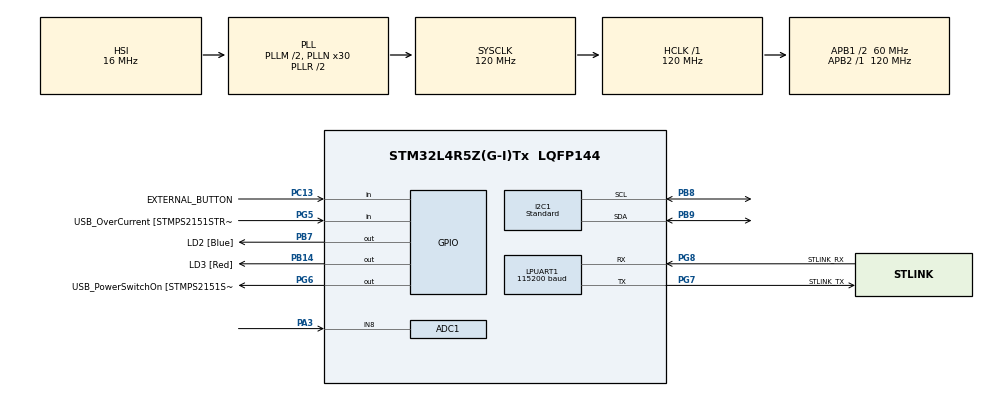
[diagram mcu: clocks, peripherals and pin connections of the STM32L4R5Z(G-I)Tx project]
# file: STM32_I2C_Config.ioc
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ADC1.Channel-1\#ChannelRegularConversion=ADC_CHANNEL_8
ADC1.Channel-2\#ChannelRegularConversion=ADC_CHANNEL_TEMPSENSOR
ADC1.Channel-3\#ChannelRegularConversion=ADC_CHANNEL_VREFINT
ADC1.Channel-4\#ChannelRegularConversion=ADC_CHANNEL_VBAT
ADC1.ContinuousConvMode=ENABLE
ADC1.DMAContinuousRequests=ENABLE
ADC1.EOCSelection=ADC_EOC_SEQ_CONV
ADC1.ExternalTrigConv=ADC_EXTERNALTRIG_T2_TRGO
ADC1.NbrOfConversion=4
ADC1.NbrOfConversionFlag=1
ADC1.OffsetNumber-1\#ChannelRegularConversion=ADC_OFFSET_NONE
ADC1.OffsetNumber-2\#ChannelRegularConversion=ADC_OFFSET_NONE
ADC1.OffsetNumber-3\#ChannelRegularConversion=ADC_OFFSET_NONE
ADC1.OffsetNumber-4\#ChannelRegularConversion=ADC_OFFSET_NONE
ADC1.Rank-1\#ChannelRegularConversion=1
ADC1.Rank-2\#ChannelRegularConversion=2
ADC1.Rank-3\#ChannelRegularConversion=3
ADC1.Rank-4\#ChannelRegularConversion=4
ADC1.SamplingTime-1\#ChannelRegularConversion=ADC_SAMPLETIME_12CYCLES_5
ADC1.SamplingTime-2\#ChannelRegularConversion=ADC_SAMPLETIME_92CYCLES_5
ADC1.SamplingTime-3\#ChannelRegularConversion=ADC_SAMPLETIME_12CYCLES_5
ADC1.SamplingTime-4\#ChannelRegularConversion=ADC_SAMPLETIME_12CYCLES_5
ADC1.master=1
Dma.ADC1.0.Direction=DMA_PERIPH_TO_MEMORY
Dma.ADC1.0.EventEnable=DISABLE
Dma.ADC1.0.Instance=DMA1_Channel1
Dma.ADC1.0.MemDataAlignment=DMA_MDATAALIGN_HALFWORD
Dma.ADC1.0.MemInc=DMA_MINC_ENABLE
Dma.ADC1.0.Mode=DMA_CIRCULAR
Dma.ADC1.0.PeriphDataAlignment=DMA_PDATAALIGN_HALFWORD
Dma.ADC1.0.PeriphInc=DMA_PINC_DISABLE
Dma.ADC1.0.Polarity=HAL_DMAMUX_REQUEST_GEN_RISING
Dma.ADC1.0.Priority=DMA_PRIORITY_LOW
Dma.ADC1.0.RequestNumber=1
Dma.ADC1.0.SignalID=NONE
Dma.ADC1.0.SyncEnable=DISABLE
Dma.ADC1.0.SyncPolarity=HAL_DMAMUX_SYNC_NO_EVENT
Dma.ADC1.0.SyncRequestNumber=1
Dma.ADC1.0.SyncSignalID=NONE
Dma.LPUART1_TX.1.Direction=DMA_MEMORY_TO_PERIPH
Dma.LPUART1_TX.1.EventEnable=DISABLE
Dma.LPUART1_TX.1.Instance=DMA1_Channel2
Dma.LPUART1_TX.1.MemDataAlignment=DMA_MDATAALIGN_BYTE
Dma.LPUART1_TX.1.MemInc=DMA_MINC_ENABLE
Dma.LPUART1_TX.1.Mode=DMA_NORMAL
Dma.LPUART1_TX.1.PeriphDataAlignment=DMA_PDATAALIGN_BYTE
Dma.LPUART1_TX.1.PeriphInc=DMA_PINC_DISABLE
Dma.LPUART1_TX.1.Polarity=HAL_DMAMUX_REQUEST_GEN_RISING
Dma.LPUART1_TX.1.Priority=DMA_PRIORITY_LOW
Dma.LPUART1_TX.1.RequestNumber=1
Dma.LPUART1_TX.1.SignalID=NONE
Dma.LPUART1_TX.1.SyncEnable=DISABLE
Dma.LPUART1_TX.1.SyncPolarity=HAL_DMAMUX_SYNC_NO_EVENT
Dma.LPUART1_TX.1.SyncRequestNumber=1
Dma.LPUART1_TX.1.SyncSignalID=NONE
Dma.Request0=ADC1
Dma.Request1=LPUART1_TX
FREERTOS.Queues01=St_Queue,16,uint16_t,0,Dynamic,NULL,NULL
FREERTOS.Tasks01=TaskSend1,24,128,StartTaskSend1,Default,NULL,Dynamic,NULL,NULL;TaskSend2,24,128,StartTaskSend2,Default,NULL,Dynamic,NULL,NULL;TaskReseive01,8,128,StartTaskReseive01,Default,NULL,Dynamic,NULL,NULL
FREERTOS.Timers01=periodicTimer,PTCallback,osTimerPeriodic,Default,NULL,Dynamic,NULL;OnceTimer,OTCallback,osTimerOnce,Default,NULL,Dynamic,NULL
FREERTOS.configTIMER_TASK_PRIORITY=6
I2C1.I2C_Speed_Mode=I2C_Standard
I2C1.Timing=0x10A077A8
LPUART1.BaudRate=115200
LPUART1.WordLength=UART_WORDLENGTH_8B
Mcu.Family=STM32L4
Mcu.Name=STM32L4R5Z(G-I)Tx
Mcu.Package=LQFP144
NVIC.DMA1_Channel1_IRQn=true\:5\:0\:false\:false\:true\:true\:false\:true\:true
NVIC.DMA1_Channel2_IRQn=true\:5\:0\:false\:false\:true\:true\:false\:true\:true
NVIC.LPUART1_IRQn=true\:5\:0\:false\:false\:true\:true\:true\:true\:true
NVIC.PriorityGroup=NVIC_PRIORITYGROUP_4
NVIC.TIM1_UP_TIM16_IRQn=true\:5\:0\:false\:false\:true\:true\:true\:true\:true
NVIC.TIM7_IRQn=true\:15\:0\:false\:false\:true\:false\:false\:true\:true
NVIC.TimeBase=TIM7_IRQn
NVIC.TimeBaseIP=TIM7
PA10.GPIO_Label=USB_ID
PA10.Signal=USB_OTG_FS_ID
PA11.GPIO_Label=USB_DM
PA11.Signal=USB_OTG_FS_DM
PA12.GPIO_Label=USB_DP
PA12.Signal=USB_OTG_FS_DP
PA13\ (JTMS/SWDIO).GPIO_Label=TMS
PA13\ (JTMS/SWDIO).Mode=Trace_Asynchronous_SW
PA13\ (JTMS/SWDIO).Signal=SYS_JTMS-SWDIO
PA14\ (JTCK/SWCLK).GPIO_Label=TCK
PA14\ (JTCK/SWCLK).Mode=Trace_Asynchronous_SW
PA14\ (JTCK/SWCLK).Signal=SYS_JTCK-SWCLK
PA3.Signal=ADCx_IN8
PA8.GPIO_Label=USB_SOF [TP1]
PA8.Signal=USB_OTG_FS_SOF
PA9.GPIO_Label=USB_VBUS
PA9.Signal=USB_OTG_FS_VBUS
PB14.GPIO_Label=LD3 [Red]
PB14.Signal=GPIO_Output
PB3\ (JTDO/TRACESWO).GPIO_Label=SWO
PB3\ (JTDO/TRACESWO).Mode=Trace_Asynchronous_SW
PB3\ (JTDO/TRACESWO).Signal=SYS_JTDO-SWO
PB7.GPIO_Label=LD2 [Blue]
PB7.Signal=GPIO_Output
PB8.Mode=I2C
PB8.Signal=I2C1_SCL
PB9.Mode=I2C
PB9.Signal=I2C1_SDA
PC13.GPIO_Label=EXTERNAL_BUTTON
PC13.Signal=GPIO_Input
PC14-OSC32_IN\ (PC14).Signal=RCC_OSC32_IN
PC15-OSC32_OUT\ (PC15).Signal=RCC_OSC32_OUT
PD8.GPIO_Label=STLK_RX [STM32F103CBT6_PA3]
PD8.Signal=USART3_TX
PD9.GPIO_Label=STLK_TX [STM32F103CBT6_PA2]
PD9.Signal=USART3_RX
PG5.GPIO_Label=USB_OverCurrent [STMPS2151STR_FAULT]
PG5.Signal=GPIO_Input
PG6.GPIO_Label=USB_PowerSwitchOn [STMPS2151STR_EN]
PG6.Signal=GPIO_Output
PG7.GPIO_Label=STLINK_TX
PG7.Mode=Asynchronous
PG7.Signal=LPUART1_TX
PG8.GPIO_Label=STLINK_RX
PG8.Mode=Asynchronous
PG8.Signal=LPUART1_RX
PH0-OSC_IN\ (PH0).Mode=HSE-External-Oscillator
PH0-OSC_IN\ (PH0).Signal=RCC_OSC_IN
PH1-OSC_OUT\ (PH1).Mode=HSE-External-Oscillator
PH1-OSC_OUT\ (PH1).Signal=RCC_OSC_OUT
ProjectManager.HeapSize=0x200
ProjectManager.StackSize=0x400
ProjectManager.TargetToolchain=CMake
RCC.48MHZClocksFreq_Value=24000000
RCC.ADCFreq_Value=96000000
RCC.AHBFreq_Value=120000000
RCC.APB1CLKDivider=RCC_HCLK_DIV2
RCC.APB1Freq_Value=60000000
RCC.APB1TimFreq_Value=120000000
RCC.APB2Freq_Value=120000000
RCC.APB2TimFreq_Value=120000000
RCC.CK48CLockSelection=RCC_USBCLKSOURCE_HSI48
RCC.CortexFreq_Value=120000000
RCC.HCLKFreq_Value=120000000
RCC.HSE_VALUE=8000000
RCC.HSI48_VALUE=48000000
RCC.HSI_VALUE=16000000
RCC.LSE_VALUE=32768
RCC.MSI_VALUE=4000000
RCC.PLLM1=2
RCC.PLLMUL=RCC_PLL_MUL9
RCC.PLLN=30
RCC.PLLSAI1N=12
RCC.PLLSourceVirtual=RCC_PLLSOURCE_HSI
RCC.PRESCALERUSB=RCC_USBCLKSOURCE_PLL_DIV1_5
RCC.SYSCLKFreq_VALUE=120000000
RCC.SYSCLKSource=RCC_SYSCLKSOURCE_PLLCLK
RCC.SYSCLKSourceVirtual=RCC_SYSCLKSOURCE_PLLCLK
RCC.USBFreq_Value=48000000
RCC.VCOOutputFreq_Value=240000000
SH.ADCx_IN8.0=ADC1_IN8,IN8-Single-Ended
TIM16.Period=10000-1
TIM16.Prescaler=12000-1
TIM17.Prescaler=12000-1
TIM2.Period=1000-1
TIM2.Prescaler=12000-1
TIM2.TIM_MasterOutputTrigger=TIM_TRGO_UPDATE
VP_ADC1_TempSens_Input.Mode=IN-TempSens
VP_ADC1_Vbat_Input.Mode=IN-Vbat
VP_ADC1_Vref_Input.Mode=IN-Vrefint
VP_FREERTOS_VS_CMSIS_V2.Mode=CMSIS_V2
VP_SYS_VS_tim7.Mode=TIM7
VP_TIM16_VS_ClockSourceINT.Mode=Enable_Timer
VP_TIM17_VS_ClockSourceINT.Mode=Enable_Timer
VP_TIM2_VS_ClockSourceINT.Mode=Internal
board=NUCLEO-L4R5ZI

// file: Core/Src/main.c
/* USER CODE BEGIN Header */
/**
 ******************************************************************************
 * @file           : main.c
 * @brief          : Main program body
 ******************************************************************************
 * @attention
 *
 * Copyright (c) 2024 STMicroelectronics.
 * All rights reserved.
 *
 * This software is licensed under terms that can be found in the LICENSE file
 * in the root directory of this software component.
 * If no LICENSE file comes with this software, it is provided AS-IS.
 *
 ******************************************************************************
 */
/* USER CODE END Header */
#include "main.h"
#include "cmsis_os.h"
#include "adc.h"
#include "dma.h"
#include "i2c.h"
#include "usart.h"
#include "tim.h"
#include "gpio.h"

/* USER CODE BEGIN Includes */
#include "bme280.h"
#include <stdio.h>
#include <string.h>
#include <stdlib.h>

/* USER CODE END Includes */

/* USER CODE BEGIN PV */

uint8_t flgTimerEclapes = FALSE;

/* USER CODE END PV */

void SystemClock_Config(void);
void MX_FREERTOS_Init(void);

int main(void)
{

  /* USER CODE BEGIN 1 */
  HAL_StatusTypeDef rslt;
  /* USER CODE END 1 */

  /* MCU Configuration--------------------------------------------------------*/

  /* Reset of all peripherals, Initializes the Flash interface and the Systick. */
  HAL_Init();

  /* Configure the system clock */
  SystemClock_Config();

  /* Initialize all configured peripherals */
  MX_GPIO_Init();
  MX_DMA_Init();
  MX_I2C1_Init();
  MX_TIM16_Init();
  MX_ADC1_Init();
  MX_TIM2_Init();
  MX_TIM17_Init();
  MX_LPUART1_UART_Init();
  /* USER CODE BEGIN 2 */

  rslt = HAL_TIM_Base_Start_IT(&htim16);

  HAL_TIM_Base_Start(&htim2);

  /* USER CODE END 2 */

  /* Init scheduler */
  osKernelInitialize();

  /* Call init function for freertos objects (in cmsis_os2.c) */
  MX_FREERTOS_Init();

  /* Start scheduler */
  osKernelStart();

  /* We should never get here as control is now taken by the scheduler */

  /* Infinite loop */
  while (1)
  {

  }
}

void SystemClock_Config(void)
{
  RCC_OscInitTypeDef RCC_OscInitStruct = {0};
  RCC_ClkInitTypeDef RCC_ClkInitStruct = {0};

  /** Configure the main internal regulator output voltage
  */
  if (HAL_PWREx_ControlVoltageScaling(PWR_REGULATOR_VOLTAGE_SCALE1_BOOST) != HAL_OK)
  {
    Error_Handler();
  }

  /** Initializes the RCC Oscillators according to the specified parameters
  * in the RCC_OscInitTypeDef structure.
  */
  RCC_OscInitStruct.OscillatorType = RCC_OSCILLATORTYPE_HSI;
  RCC_OscInitStruct.HSIState = RCC_HSI_ON;
  RCC_OscInitStruct.HSICalibrationValue = RCC_HSICALIBRATION_DEFAULT;
  RCC_OscInitStruct.PLL.PLLState = RCC_PLL_ON;
  RCC_OscInitStruct.PLL.PLLSource = RCC_PLLSOURCE_HSI;
  RCC_OscInitStruct.PLL.PLLM = 2;
  RCC_OscInitStruct.PLL.PLLN = 30;
  RCC_OscInitStruct.PLL.PLLP = RCC_PLLP_DIV2;
  RCC_OscInitStruct.PLL.PLLQ = RCC_PLLQ_DIV2;
  RCC_OscInitStruct.PLL.PLLR = RCC_PLLR_DIV2;
  if (HAL_RCC_OscConfig(&RCC_OscInitStruct) != HAL_OK)
  {
    Error_Handler();
  }

  /** Initializes the CPU, AHB and APB buses clocks
  */
  RCC_ClkInitStruct.ClockType = RCC_CLOCKTYPE_HCLK|RCC_CLOCKTYPE_SYSCLK
                              |RCC_CLOCKTYPE_PCLK1|RCC_CLOCKTYPE_PCLK2;
  RCC_ClkInitStruct.SYSCLKSource = RCC_SYSCLKSOURCE_PLLCLK;
  RCC_ClkInitStruct.AHBCLKDivider = RCC_SYSCLK_DIV1;
  RCC_ClkInitStruct.APB1CLKDivider = RCC_HCLK_DIV2;
  RCC_ClkInitStruct.APB2CLKDivider = RCC_HCLK_DIV1;

  if (HAL_RCC_ClockConfig(&RCC_ClkInitStruct, FLASH_LATENCY_5) != HAL_OK)
  {
    Error_Handler();
  }
}

/* USER CODE BEGIN 4 */
/*void HAL_TIM_PeriodElapsedCallback(TIM_HandleTypeDef *htim)
{

  if (htim == &htim16)
  {
    flgTimerEclapes = TRUE;
  }
}*/

/* USER CODE END 4 */

void HAL_TIM_PeriodElapsedCallback(TIM_HandleTypeDef *htim)
{
  if (htim->Instance == TIM7) {
    HAL_IncTick();
  }
  /* USER CODE BEGIN Callback 1 */
  if (htim->Instance == TIM16)
  {
    flgTimerEclapes = TRUE;
  }
  /* USER CODE END Callback 1 */
}

void Error_Handler(void)
{
  __disable_irq();
  while (1)
  {
  }
}

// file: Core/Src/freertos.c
/* USER CODE BEGIN Header */
/**
 ******************************************************************************
 * File Name          : freertos.c
 * Description        : Code for freertos applications
 ******************************************************************************
 * @attention
 *
 * Copyright (c) 2024 STMicroelectronics.
 * All rights reserved.
 *
 * This software is licensed under terms that can be found in the LICENSE file
 * in the root directory of this software component.
 * If no LICENSE file comes with this software, it is provided AS-IS.
 *
 ******************************************************************************
 */
/* USER CODE END Header */

#include "FreeRTOS.h"
#include "task.h"
#include "main.h"
#include "cmsis_os.h"

/* USER CODE BEGIN Includes */
#include "adc.h"
#include "tim.h"
#include "sensor.h"
#include "bme280.h"
#include "display.h"
#include <stdio.h>
#include <string.h>
#include <stdlib.h>
#include "usart.h"
/* USER CODE END Includes */

/* USER CODE BEGIN Variables */
uint16_t timer_val = 0;
uint32_t idx = 0;
uint32_t sec = 0;
HAL_StatusTypeDef rslt;
strFdbkSensor TempHumPresSensor = {.humidity = 0, .pressure = 0, .temperature = 0, .rslt = BME280_OK};
char myText[50] = {'\0'};

/* USER CODE END Variables */
/* Definitions for ReadSensorData */
osThreadId_t ReadSensorDataHandle;
const osThreadAttr_t ReadSensorData_attributes = {
    .name = "ReadSensorData",
    .stack_size = 256 * 4,
    .priority = (osPriority_t)osPriorityNormal,
};
/* Definitions for TaskReseive01 */
osThreadId_t DisplayDataHandle;
const osThreadAttr_t DisplayData_attributes = {
    .name = "DisplayData",
    .stack_size = 256 * 4,
    .priority = (osPriority_t)osPriorityBelowNormal,
};
/* Definitions for St_Queue */
osMessageQueueId_t St_QueueHandle;
const osMessageQueueAttr_t St_Queue_attributes = {
    .name = "St_Queue"};
/* Definitions for periodicTimer */
osTimerId_t periodicTimerHandle;
const osTimerAttr_t periodicTimer_attributes = {
    .name = "periodicTimer"};
/* Definitions for OnceTimer */
osTimerId_t OnceTimerHandle;
const osTimerAttr_t OnceTimer_attributes = {
    .name = "OnceTimer"};

void StartReadData(void *argument);
void StartDisplayData(void *argument);
void PTCallback(void *argument);
void OTCallback(void *argument);

void MX_FREERTOS_Init(void); /* (MISRA C 2004 rule 8.1) */

void MX_FREERTOS_Init(void)
{
  /* USER CODE BEGIN Init */
  rslt = InitSensors();
  rslt = InitDisplay();

  /* USER CODE END Init */

  /* Create the timer(s) */
  /* creation of periodicTimer */
  periodicTimerHandle = osTimerNew(PTCallback, osTimerPeriodic, NULL, &periodicTimer_attributes);

  /* creation of OnceTimer */
  OnceTimerHandle = osTimerNew(OTCallback, osTimerOnce, NULL, &OnceTimer_attributes);

  /* USER CODE BEGIN RTOS_TIMERS */
  /* start timers, add new ones, ... */
  HAL_TIM_Base_Start(&htim17);
  /* USER CODE END RTOS_TIMERS */

  /* Create the queue(s) */
  /* creation of St_Queue */
  St_QueueHandle = osMessageQueueNew(16, sizeof(uint16_t), &St_Queue_attributes);

  /* Create the thread(s) */
  /* creation of ReadSensorData */
  ReadSensorDataHandle = osThreadNew(StartReadData, NULL, &ReadSensorData_attributes);

  /* creation of DisplayData */
  DisplayDataHandle = osThreadNew(StartDisplayData, NULL, &DisplayData_attributes);

}

void StartReadData(void *argument)
{
  /* USER CODE BEGIN StartReadData */
  /* Infinite loop */

  for (;;)
  {
    TempHumPresSensor = Sensor_Read();

    osDelay(1000);
  }
  /* USER CODE END StartReadData */
}

void StartDisplayData(void *argument)
{
  /* USER CODE BEGIN StartDisplayData */
  /* Infinite loop */
  for (;;)
  {

    UART_SendSensorData();

    DisplaySensorData(TempHumPresSensor);
    osDelay(1000);
  }
  /* USER CODE END StartTaskReseive01 */
}

/* PTCallback function */
void PTCallback(void *argument)
{
}

/* OTCallback function */
void OTCallback(void *argument)
{
}
